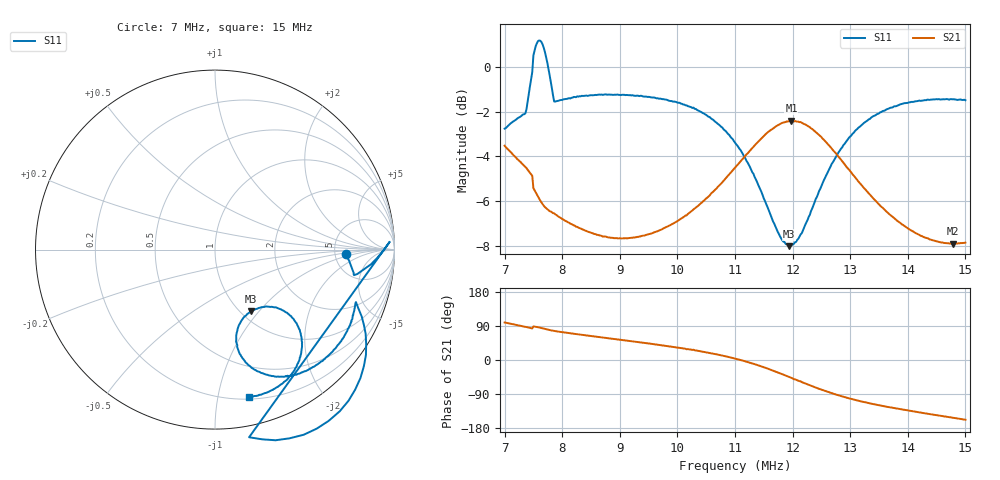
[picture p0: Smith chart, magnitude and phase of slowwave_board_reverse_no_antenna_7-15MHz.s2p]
! Measured S11/S21; S12/S22 are placeholders, NOT measurements. Calibration unverified.
! [Saver CAL applied] C:\Users\aknya\MyProjects\rf-simulator\calibration2.cal | Ideal standards assumed | Input: NanoVNA F V2 profile | COM3 | 2026-10-04T11:22:39.4755201-04:00 | device calibration unverified
# HZ S RI R 50
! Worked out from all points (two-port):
!   401 points, 7 MHz to 15 MHz, reference 50 ohm
!   highest |S21| = -2.40 dB at 11.98 MHz (marker M1); lowest = -7.9 dB at 14.78 MHz (marker M2)
!   |S21| within 3 dB of the highest: start of sweep to 7.499 MHz; 10.69 MHz to 13.24 MHz (2.546 MHz wide, 21.3 % of centre)
!   lowest |S11| = -8.0 dB at 11.94 MHz (marker M3), VSWR 2.32, Z = 55.3 - j45.2 ohm
!   |S11| at or under -10 dB: nowhere
!   S12 and S22 are empty: the file has one direction only
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7000000  0.7276 -0.026  -0.1045 0.6585  0 0  0 0
7340000  0.7724 -0.1363  0.0182 0.6009  0 0  0 0
7400000  0.8313 -0.1087  0.0379 0.5878  0 0  0 0
7440000  0.9046 -0.0457  0.0525 0.5774  0 0  0 0
7540000  0.3374 -1.062  0.0222 0.5238  0 0  0 0
7620000  0.6328 -0.9546  0.0428 0.5003  0 0  0 0
7700000  0.8104 -0.7154  0.0669 0.4813  0 0  0 0
7800000  0.8297 -0.42  0.0951 0.4654  0 0  0 0
7860000  0.7851 -0.2923  0.1093 0.4577  0 0  0 0
8340000  0.7527 -0.4209  0.1735 0.3974  0 0  0 0
9680000  0.5361 -0.6589  0.33 0.2763  0 0  0 0
1.046e7  0.3435 -0.7086  0.4676 0.1839  0 0  0 0
1.1e7  0.1943 -0.6488  0.5934 0.0391  0 0  0 0
1.154e7  0.1182 -0.4799  0.6615 -0.2562  0 0  0 0
1.194e7  0.1982 -0.3442  0.5377 -0.5322  0 0  0 0
1.198e7  0.2129 -0.3378  0.515 -0.5565  0 0  0 0
1.234e7  0.3536 -0.328  0.258 -0.6794  0 0  0 0
1.26e7  0.4332 -0.3822  0.0757 -0.6707  0 0  0 0
1.296e7  0.4821 -0.4934  -0.1065 -0.5836  0 0  0 0
1.368e7  0.436 -0.6813  -0.2665 -0.3851  0 0  0 0
1.478e7  0.233 -0.8144  -0.3562 -0.187  0 0  0 0
1.5e7  0.19 -0.8213  -0.3742 -0.1538  0 0  0 0
